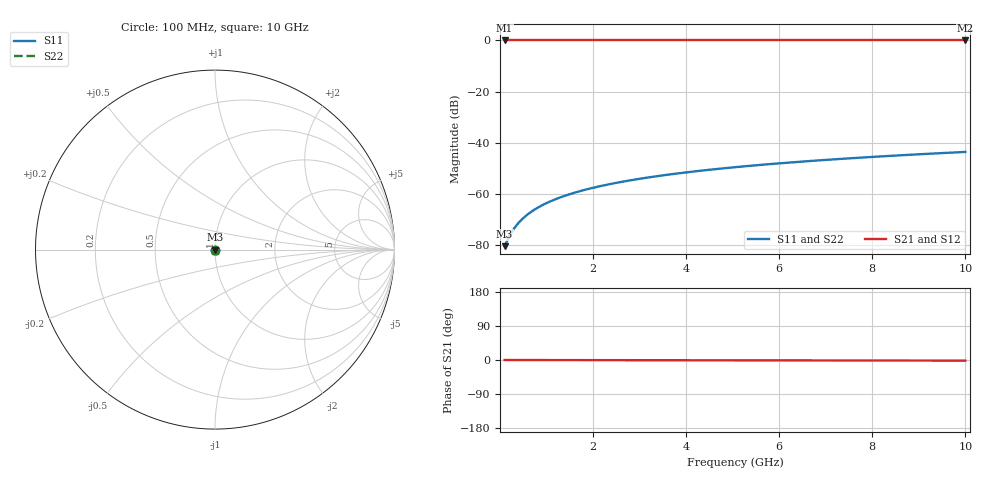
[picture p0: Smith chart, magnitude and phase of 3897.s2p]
# Hz S RI R 50.00
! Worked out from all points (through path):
!   100 points, 100 MHz to 10 GHz, reference 50 ohm
!   highest |S21| = 0.00 dB at 100 MHz (marker M1); lowest = 0.0 dB at 10 GHz (marker M2)
!   lowest |S11| = -80.6 dB at 100 MHz (marker M3), VSWR 1.00, Z = 50 - j0.00648 ohm
!   |S11| at or under -10 dB: start of sweep to end of sweep
!   |S22| runs from -80.6 to -43.7 dB; largest |S21 - S12| = 0
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1e8  6.72e-05 -6.48e-05  0.9999 -0.000288  0.9999 -0.000288  6.72e-05 -6.48e-05
2e8  6.74e-05 -0.00013  0.9999 -0.000576  0.9999 -0.000576  6.74e-05 -0.00013
3e8  6.75e-05 -0.000194  0.9999 -0.000864  0.9999 -0.000864  6.75e-05 -0.000194
4e8  6.75e-05 -0.000259  0.9999 -0.00115  0.9999 -0.00115  6.75e-05 -0.000259
5e8  6.74e-05 -0.000324  0.9999 -0.00144  0.9999 -0.00144  6.74e-05 -0.000324
6e8  6.72e-05 -0.000389  0.9999 -0.00173  0.9999 -0.00173  6.72e-05 -0.000389
7e8  6.7e-05 -0.000454  0.9999 -0.00202  0.9999 -0.00202  6.7e-05 -0.000454
9e8  6.64e-05 -0.000583  0.9999 -0.00259  0.9999 -0.00259  6.64e-05 -0.000583
1e9  6.6e-05 -0.000648  0.9999 -0.00288  0.9999 -0.00288  6.6e-05 -0.000648
1.2e9  6.52e-05 -0.000778  0.9999 -0.00346  0.9999 -0.00346  6.52e-05 -0.000778
1.5e9  6.35e-05 -0.000972  0.9999 -0.00432  0.9999 -0.00432  6.35e-05 -0.000972
1.8e9  6.15e-05 -0.00117  0.9999 -0.00519  0.9999 -0.00519  6.15e-05 -0.00117
2.1e9  5.92e-05 -0.00136  0.9999 -0.00605  0.9999 -0.00605  5.92e-05 -0.00136
2.5e9  5.55e-05 -0.00162  0.9999 -0.00721  0.9999 -0.00721  5.55e-05 -0.00162
2.9e9  5.11e-05 -0.00188  0.9999 -0.00836  0.9999 -0.00836  5.11e-05 -0.00188
3.4e9  4.49e-05 -0.00221  0.9999 -0.00981  0.9999 -0.00981  4.49e-05 -0.00221
4.2e9  3.28e-05 -0.00273  0.9998 -0.0121  0.9998 -0.0121  3.28e-05 -0.00273
5.1e9  1.63e-05 -0.00332  0.9998 -0.0147  0.9998 -0.0147  1.63e-05 -0.00332
5.9e9  -1.04e-06 -0.00385  0.9998 -0.0171  0.9998 -0.0171  -1.04e-06 -0.00385
6.7e9  -2.08e-05 -0.00437  0.9997 -0.0194  0.9997 -0.0194  -2.08e-05 -0.00437
8.4e9  -7.11e-05 -0.00549  0.9996 -0.0243  0.9996 -0.0243  -7.11e-05 -0.00549
1e10  -0.000129 -0.00655  0.9995 -0.029  0.9995 -0.029  -0.000129 -0.00655
